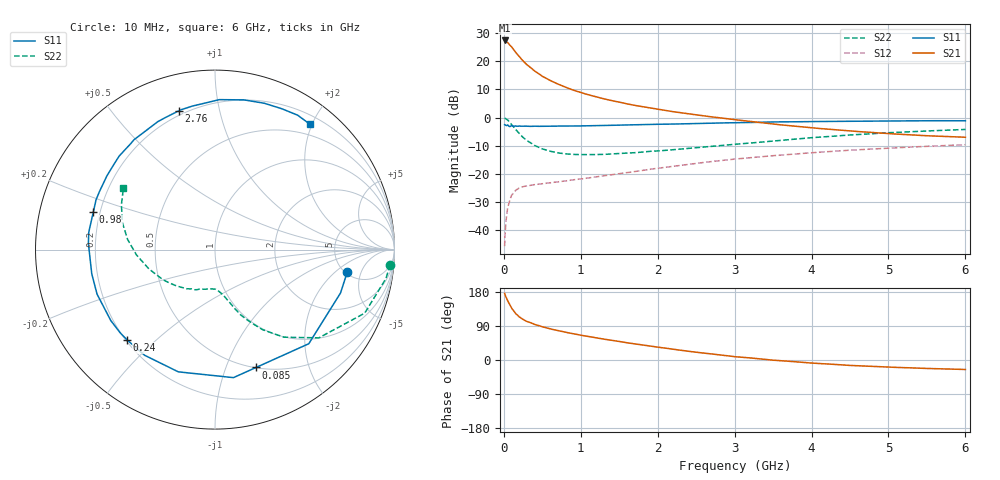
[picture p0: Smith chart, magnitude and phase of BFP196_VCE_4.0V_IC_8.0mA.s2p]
! Infineon Technologies  Discrete & RF Semiconductors
! BFP196
! VCE = 4.0 V,  IC = 8.0mA
! Common Emitter S-Parameters:  Jan 2016
# GHz  S  MA  R  50
!  f  S11  S21  S12  S22
! GHz  MAG  ANG  MAG  ANG  MAG  ANG  MAG  ANG
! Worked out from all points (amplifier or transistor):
!   210 points, 10 MHz to 6 GHz, reference 50 ohm
!   highest |S21| = 27.4 dB at 10 MHz (marker M1)
!   |S21| within 3 dB of that: start of sweep to 120.1 MHz
!   unconditionally stable (mu >= 1): 956.6 MHz to 3.366 GHz
!   at 185 MHz: K = 0.27, MSG = 23.7 dB, |S12| = -25.3 dB
!   at 1.52 GHz: K = 1.15, MAG = 10.2 dB, |S12| = -19.9 dB
!   at 6 GHz: K = 0.97, MSG = 1.3 dB, |S12| = -9.7 dB
!   S11 on the Smith chart (normalised r, x): 10 MHz: 5.15, -2.97; 85 MHz: 0.50, -1.28; 240 MHz: 0.20, -0.41; 980 MHz: 0.17, +0.15; 2.76 GHz: 0.18, +0.76; 6 GHz: 0.33, +1.97
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0.01  0.7473 -9.8  23.38 175.7  0.0052 86.8  0.9795 -5.0
0.02  0.7399 -19.1  22.83 169.5  0.0104 79.2  0.966 -9.6
0.05  0.7403 -45.1  21.46 155.7  0.0251 68.4  0.9061 -23.0
0.085  0.6953 -70.8  18.85 143.1  0.0364 56.5  0.795 -34.5
0.1  0.7207 -81.8  18.06 136.7  0.0416 53.5  0.7592 -40.4
0.15  0.7111 -106.7  14.58 123.0  0.0506 43.0  0.6208 -51.8
0.2  0.7074 -123.7  12.08 113.8  0.0561 37.2  0.5201 -59.2
0.24  0.7021 -134.3  10.47 108.3  0.0587 34.4  0.4577 -63.4
0.26  0.7028 -138.7  9.796 105.8  0.0597 33.4  0.432 -65.3
0.3  0.7025 -145.7  8.662 101.6  0.0611 31.9  0.3906 -68.6
0.4  0.7024 -159.3  6.709 93.9  0.0645 29.8  0.3192 -73.6
0.5  0.6998 -168.8  5.411 87.6  0.0667 29.5  0.2777 -77.2
0.7  0.7063 177.2  3.945 77.4  0.0718 31.6  0.2363 -83.8
0.98  0.7094 162.9  2.836 66.3  0.0805 35.1  0.2201 -90.8
1.02  0.7118 160.9  2.729 64.8  0.0817 35.6  0.2198 -91.9
1.4  0.7289 145.9  1.998 52.0  0.0962 39.4  0.2261 -102.7
2.02  0.7606 125.8  1.389 33.4  0.127 41.6  0.2558 -121.1
2.76  0.7989 104.7  1.007 14.6  0.1688 38.6  0.3121 -143.1
3.1  0.8124 96.8  0.885 7.2  0.1882 35.5  0.3431 -153.0
4.1  0.8506 77.5  0.64 -9.2  0.2421 25.4  0.4479 -178.5
5.1  0.8699 63.3  0.509 -19.5  0.2909 13.8  0.5447 161.7
6  0.8761 52.9  0.447 -25.0  0.3291 2.9  0.6151 146.0
